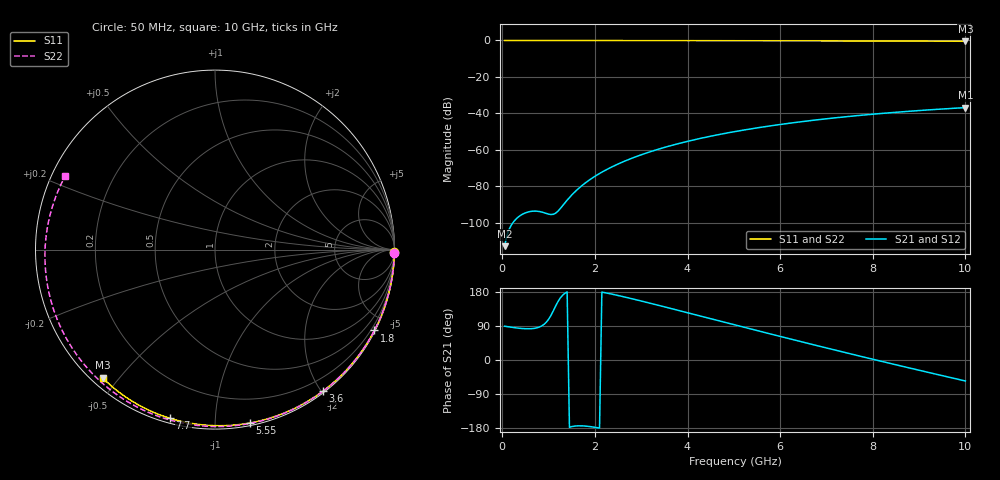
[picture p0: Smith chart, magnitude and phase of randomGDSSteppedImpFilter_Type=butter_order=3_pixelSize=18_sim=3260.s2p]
! freq	dB(S11)	phase(S11)	dB(S12)	phase(S12)
!  dB(S21)	phase(S21)	dB(S22)	phase(S22)
!S-par simulation data
#  GHz  S  DB  R 50
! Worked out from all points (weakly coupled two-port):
!   200 points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, 50 MHz to 10 GHz, reference 50 ohm
!   highest |S21| = -36.84 dB at 10 GHz (marker M1); lowest = -112.8 dB at 50 MHz (marker M2)
!   lowest |S11| = -0.4 dB at 10 GHz (marker M3), VSWR 39.08, Z = 1.54 - j22.6 ohm
!   |S11| at or under -10 dB: nowhere
!   |S22| runs from -0.6 to 0.0 dB; largest |S21 - S12| = 0
!   S11 on the Smith chart (normalised r, x): 50 MHz: open; 1.8 GHz: 0.04, -4.18; 3.6 GHz: 0.02, -2.02; 5.55 GHz: 0.02, -1.22; 7.7 GHz: 0.02, -0.77; 10 GHz: 0.03, -0.45
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0.05  -0.00 -0.8  -112.82 89.1  -112.82 89.1  -0.00 -1.2
0.45  -0.01 -6.8  -95.12 82.9  -95.12 82.9  -0.01 -10.5
0.85  -0.02 -12.8  -94.09 89.8  -94.09 89.8  -0.03 -19.7
1.25  -0.02 -18.8  -92.27 163.3  -92.27 163.3  -0.04 -28.9
1.7  -0.03 -25.4  -80.01 -173.7  -80.01 -173.7  -0.05 -39.0
1.75  -0.03 -26.2  -78.98 -174.0  -78.98 -174.0  -0.05 -40.1
1.8  -0.03 -26.9  -78.00 -174.4  -78.00 -174.4  -0.05 -41.2
2.1  -0.04 -31.3  -72.96 -179.6  -72.96 -179.6  -0.06 -47.9
2.5  -0.05 -37.1  -67.76 170.2  -67.76 170.2  -0.07 -56.6
2.9  -0.06 -42.8  -63.61 158.7  -63.61 158.7  -0.08 -65.1
3.4  -0.07 -49.8  -59.41 143.5  -59.41 143.5  -0.10 -75.6
3.6  -0.07 -52.6  -57.95 137.3  -57.95 137.3  -0.11 -79.7
4.3  -0.09 -62.2  -53.58 115.3  -53.58 115.3  -0.13 -93.8
5.05  -0.11 -72.1  -49.85 91.8  -49.85 91.8  -0.17 -108.4
5.55  -0.13 -78.6  -47.75 76.2  -47.75 76.2  -0.19 -118.0
6.1  -0.15 -85.5  -45.74 59.2  -45.74 59.2  -0.23 -128.4
6.7  -0.18 -92.9  -43.82 40.9  -43.82 40.9  -0.27 -139.7
7.2  -0.21 -99.0  -42.40 25.8  -42.40 25.8  -0.31 -149.1
7.7  -0.24 -104.9  -41.14 10.8  -41.14 10.8  -0.36 -158.6
8.35  -0.29 -112.5  -39.69 -8.3  -39.69 -8.3  -0.42 -171.3
9.2  -0.36 -122.2  -38.09 -32.8  -38.09 -32.8  -0.53 171.4
10  -0.44 -131.2  -36.84 -55.3  -36.84 -55.3  -0.63 153.9
